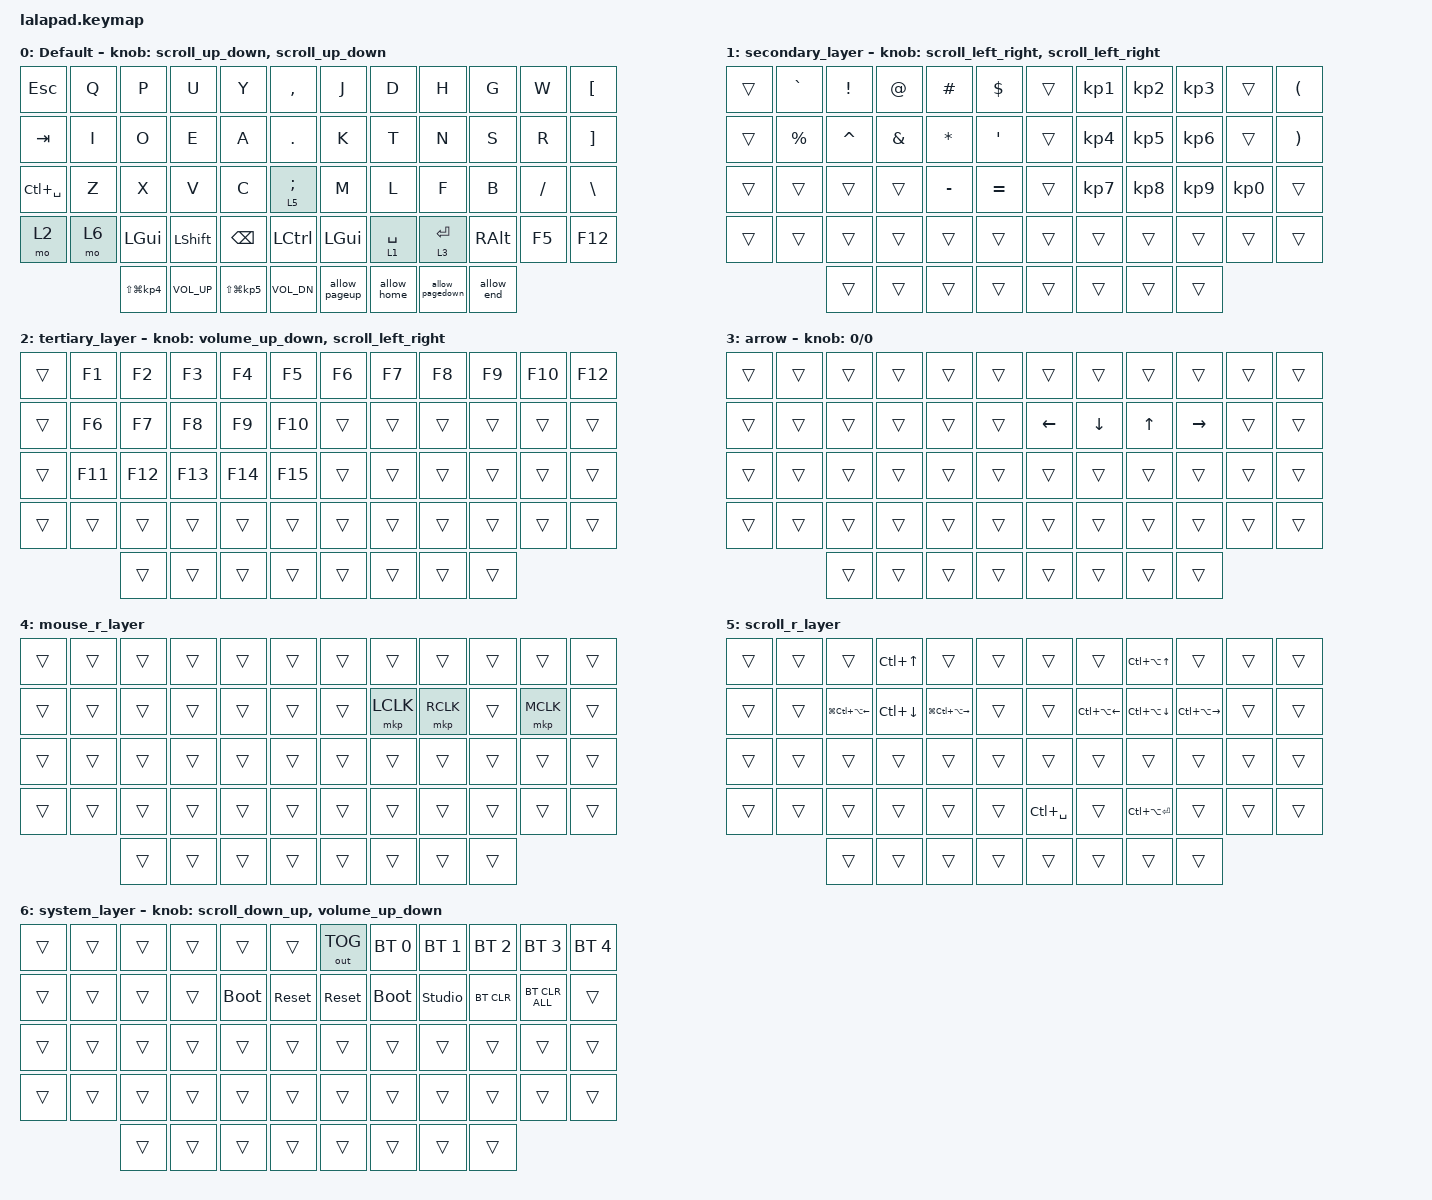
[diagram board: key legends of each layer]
#include <input/processors.dtsi>
#include <behaviors.dtsi>
#include <dt-bindings/zmk/bt.h>
#include <dt-bindings/zmk/keys.h>
#include <dt-bindings/zmk/outputs.h>
#include <dt-bindings/zmk/pointing.h>

#define DEFAULT_LAYER   0
#define SECONDARY_LAYER 1
#define TERTIARY_LAYER  2
#define SYSTEM_LAYER    3
#define MOUSE_R_LAYER   4
#define SCROLL_R_LAYER  5
#define MOUSE_L_LAYER   6
#define SCROLL_L_LAYER  7

// Mouse Scroll Value

#define ZMK_POINTING_DEFAULT_SCRL_VAL 100

// cirque trackpad input&layer control

&glidepoint_listener_R {
    input-processors =
        <&zip_xy_transform (INPUT_TRANSFORM_XY_SWAP | INPUT_TRANSFORM_X_INVERT | INPUT_TRANSFORM_Y_INVERT)>,
        <&zip_xy_scaler 3 2>,
        <&zip_temp_layer MOUSE_R_LAYER 500>;

    lowspeedmode {
        layers = <SECONDARY_LAYER>;
        input-processors =
            <&zip_xy_transform (INPUT_TRANSFORM_XY_SWAP | INPUT_TRANSFORM_X_INVERT | INPUT_TRANSFORM_Y_INVERT)>,
            <&zip_xy_scaler 3 5>,
            <&zip_temp_layer MOUSE_R_LAYER 500>;
    };

    scroller {
        layers = <SCROLL_R_LAYER>;
        input-processors =
            <&zip_xy_to_scroll_mapper>,
            <&zip_scroll_transform (INPUT_TRANSFORM_XY_SWAP | INPUT_TRANSFORM_Y_INVERT)>,
            <&zip_scroll_scaler 1 8>;
    };
};

&glidepoint_listener_L {
    input-processors =
        <&zip_xy_transform (INPUT_TRANSFORM_XY_SWAP | INPUT_TRANSFORM_X_INVERT | INPUT_TRANSFORM_Y_INVERT)>,
        <&zip_xy_scaler 3 2>,
        <&zip_temp_layer MOUSE_L_LAYER 500>;

    lowspeedmode {
        layers = <SECONDARY_LAYER>;
        input-processors =
            <&zip_xy_transform (INPUT_TRANSFORM_XY_SWAP | INPUT_TRANSFORM_X_INVERT | INPUT_TRANSFORM_Y_INVERT)>,
            <&zip_xy_scaler 3 4>,
            <&zip_temp_layer MOUSE_L_LAYER 500>;
    };

    scroller {
        layers = <SCROLL_L_LAYER>;
        input-processors =
            <&zip_xy_to_scroll_mapper>,
            <&zip_scroll_transform (INPUT_TRANSFORM_XY_SWAP | INPUT_TRANSFORM_Y_INVERT)>,
            <&zip_scroll_scaler 1 6>;
    };
};

/ {
    behaviors {
        // Encoder to Mouse Scroll

        scroll_up_down: sensor_scroll_up_down {
            compatible = "zmk,behavior-sensor-rotate";
            #sensor-binding-cells = <0>;
            bindings = <&msc SCRL_UP>, <&msc SCRL_DOWN>;

            tap-ms = <20>;
            label = "SCROLL_UP_DOWN";
        };

        scroll_down_up: sensor_scroll_down_up {
            compatible = "zmk,behavior-sensor-rotate";
            #sensor-binding-cells = <0>;
            bindings = <&msc SCRL_DOWN>, <&msc SCRL_UP>;

            tap-ms = <20>;
            label = "SCROLL_DOWN_UP";
        };

        scroll_left_right: sensor_scroll_left_right {
            compatible = "zmk,behavior-sensor-rotate";
            #sensor-binding-cells = <0>;
            bindings = <&msc SCRL_LEFT>, <&msc SCRL_RIGHT>;

            tap-ms = <20>;
            label = "SCROLL_LEFT_RIGHT";
        };

        scroll_right_left: sensor_scroll_right_left {
            compatible = "zmk,behavior-sensor-rotate";
            #sensor-binding-cells = <0>;
            bindings = <&msc SCRL_RIGHT>, <&msc SCRL_LEFT>;

            tap-ms = <20>;
            label = "SCROLL_RIGHT_LEFT";
        };

        volume_up_down: sensor_volume_up_down {
            compatible = "zmk,behavior-sensor-rotate";
            #sensor-binding-cells = <0>;
            bindings = <&kp C_VOLUME_UP>, <&kp C_VOLUME_DOWN>;

            tap-ms = <20>;
            label = "VOLUME_UP_DOWN";
        };

        dot_comma: dot_comma {
            compatible = "zmk,behavior-mod-morph";
            #binding-cells = <0>;
            bindings = <&kp KP_DOT>, <&kp COMMA>;

            mods = <(MOD_LSFT|MOD_RSFT)>;
            label = "DOT_COMMA";
        };

        pls_minus: pls_minus {
            compatible = "zmk,behavior-mod-morph";
            #binding-cells = <0>;
            bindings = <&kp PLUS>, <&kp MINUS>;

            mods = <(MOD_LSFT|MOD_RSFT)>;
            label = "PLS_MINUS";
        };

        allow_pageup: allow_pageup {
            compatible = "zmk,behavior-mod-morph";
            #binding-cells = <0>;
            bindings = <&kp UP>, <&kp PAGE_UP>;

            mods = <(MOD_LCTL|MOD_RCTL)>;
            label = "ALLOW_PAGEUP";
        };

        allow_pagedown: allow_pagedown {
            compatible = "zmk,behavior-mod-morph";
            #binding-cells = <0>;
            bindings = <&kp DOWN>, <&kp PAGE_DOWN>;

            mods = <(MOD_LCTL|MOD_RCTL)>;
            label = "ALLOW_PAGEDOWN";
        };

        allow_home: allow_home {
            compatible = "zmk,behavior-mod-morph";
            #binding-cells = <0>;
            bindings = <&kp LEFT>, <&kp HOME>;

            mods = <(MOD_LCTL|MOD_RCTL)>;
            label = "ALLOW_HOME";
        };

        allow_end: allow_end {
            compatible = "zmk,behavior-mod-morph";
            #binding-cells = <0>;
            bindings = <&kp RIGHT>, <&kp END>;

            mods = <(MOD_LCTL|MOD_RCTL)>;
            label = "ALLOW_END";
        };

        mt2: mod_tap2 {
            compatible = "zmk,behavior-hold-tap";
            #binding-cells = <2>;
            flavor = "tap-preferred";
            tapping-term-ms = <200>;
            quick-tap-ms = <200>;
            require-prior-idle-ms = <125>;
            bindings = <&kp>, <&kp>;
        };
    };

    combos {
        compatible = "zmk,combos";

        tab {
            bindings = <&kp TAB>;
            key-positions = <15 14>;
        };

        shifttab {
            bindings = <&kp LS(TAB)>;
            key-positions = <15 16>;
        };
    };

    keymap {
        compatible = "zmk,keymap";

        DEFAULT_LAYER {
            display-name = "Default";
            sensor-bindings = <&scroll_up_down>, <&scroll_up_down>;

            bindings = <
&kp ESC        &kp Q  &kp P                    &kp U           &kp Y                    &kp COMMA        &kp J          &kp D        &kp H            &kp G          &kp W      &kp LEFT_BRACKET
&kp TAB        &kp I  &kp O                    &kp E           &kp A                    &kp PERIOD       &kp K          &kp T        &kp N            &kp S          &kp R      &kp RIGHT_BRACKET
&kp LC(SPACE)  &kp Z  &kp X                    &kp V           &kp C                    &lt 5 SEMICOLON  &kp M          &kp L        &kp F            &kp B          &kp SLASH  &kp BSLH
&mo 2          &mo 6  &kp LEFT_GUI             &kp LEFT_SHIFT  &kp BACKSPACE            &kp LCTRL        &kp LEFT_GUI   &lt 1 SPACE  &lt 3 ENTER      &kp RIGHT_ALT  &kp F5     &kp F12
                      &kp LS(LG(KP_NUMBER_4))  &kp C_VOL_UP    &kp LS(LG(KP_NUMBER_5))  &kp C_VOL_DN     &allow_pageup  &allow_home  &allow_pagedown  &allow_end
            >;
        };

        num {
            display-name = "secondary_layer";
            sensor-bindings = <&scroll_left_right>, <&scroll_left_right>;

            bindings = <
&trans  &kp GRAVE    &kp EXCLAMATION  &kp AT_SIGN    &kp HASH      &kp DOLLAR  &trans  &kp KP_NUMBER_1  &kp KP_NUMBER_2  &kp KP_NUMBER_3  &trans           &kp LEFT_PARENTHESIS
&trans  &kp PERCENT  &kp CARET        &kp AMPERSAND  &kp ASTERISK  &kp SQT     &trans  &kp KP_NUMBER_4  &kp KP_NUMBER_5  &kp KP_NUMBER_6  &trans           &kp RIGHT_PARENTHESIS
&trans  &trans       &trans           &trans         &kp MINUS     &kp EQUAL   &trans  &kp KP_NUMBER_7  &kp KP_NUMBER_8  &kp KP_NUMBER_9  &kp KP_NUMBER_0  &trans
&trans  &trans       &trans           &trans         &trans        &trans      &trans  &trans           &trans           &trans           &trans           &trans
                     &trans           &trans         &trans        &trans      &trans  &trans           &trans           &trans
            >;
        };

        function {
            display-name = "tertiary_layer";
            bindings = <
&trans  &kp F1   &kp F2   &kp F3   &kp F4   &kp F5   &kp F6  &kp F7  &kp F8  &kp F9  &kp F10  &kp F12
&trans  &kp F6   &kp F7   &kp F8   &kp F9   &kp F10  &trans  &trans  &trans  &trans  &trans   &trans
&trans  &kp F11  &kp F12  &kp F13  &kp F14  &kp F15  &trans  &trans  &trans  &trans  &trans   &trans
&trans  &trans   &trans   &trans   &trans   &trans   &trans  &trans  &trans  &trans  &trans   &trans
                 &trans   &trans   &trans   &trans   &trans  &trans  &trans  &trans
            >;

            sensor-bindings = <&volume_up_down>, <&scroll_left_right>;
        };

        arrow {
            bindings = <
&trans  &trans  &trans  &trans  &trans  &trans  &trans    &trans          &trans        &trans     &trans  &trans
&trans  &trans  &trans  &trans  &trans  &trans  &kp LEFT  &kp DOWN_ARROW  &kp UP_ARROW  &kp RIGHT  &trans  &trans
&trans  &trans  &trans  &trans  &trans  &trans  &trans    &trans          &trans        &trans     &trans  &trans
&trans  &trans  &trans  &trans  &trans  &trans  &trans    &trans          &trans        &trans     &trans  &trans
                &trans  &trans  &trans  &trans  &trans    &trans          &trans        &trans
            >;

            sensor-bindings = <&inc_dec_kp 0 0>;
        };

        MOUSE_R_LAYER {
            display-name = "mouse_r_layer";
            bindings = <
&trans  &trans  &trans  &trans  &trans  &trans  &trans  &trans     &trans     &trans  &trans     &trans
&trans  &trans  &trans  &trans  &trans  &trans  &trans  &mkp LCLK  &mkp RCLK  &trans  &mkp MCLK  &trans
&trans  &trans  &trans  &trans  &trans  &trans  &trans  &trans     &trans     &trans  &trans     &trans
&trans  &trans  &trans  &trans  &trans  &trans  &trans  &trans     &trans     &trans  &trans     &trans
                &trans  &trans  &trans  &trans  &trans  &trans     &trans     &trans
            >;
        };

        rectangle {
            display-name = "scroll_r_layer";
            bindings = <
&trans  &trans  &trans                &kp LC(UP_ARROW)    &trans                 &trans  &trans         &trans            &kp LC(LA(UP_ARROW))    &trans             &trans  &trans
&trans  &trans  &kp LG(LC(LA(LEFT)))  &kp LC(DOWN_ARROW)  &kp LG(LC(LA(RIGHT)))  &trans  &trans         &kp LC(LA(LEFT))  &kp LC(LA(DOWN_ARROW))  &kp LC(LA(RIGHT))  &trans  &trans
&trans  &trans  &trans                &trans              &trans                 &trans  &trans         &trans            &trans                  &trans             &trans  &trans
&trans  &trans  &trans                &trans              &trans                 &trans  &kp LC(SPACE)  &trans            &kp LC(LA(ENTER))       &trans             &trans  &trans
                &trans                &trans              &trans                 &trans  &trans         &trans            &trans                  &trans
            >;
        };

        SYSTEM_LAYER {
            display-name = "system_layer";
            sensor-bindings = <&scroll_down_up>, <&volume_up_down>;

            bindings = <
&trans  &trans  &trans  &trans  &trans       &trans      &out OUT_TOG  &bt BT_SEL 0  &bt BT_SEL 1    &bt BT_SEL 2  &bt BT_SEL 3    &bt BT_SEL 4
&trans  &trans  &trans  &trans  &bootloader  &sys_reset  &sys_reset    &bootloader   &studio_unlock  &bt BT_CLR    &bt BT_CLR_ALL  &trans
&trans  &trans  &trans  &trans  &trans       &trans      &trans        &trans        &trans          &trans        &trans          &trans
&trans  &trans  &trans  &trans  &trans       &trans      &trans        &trans        &trans          &trans        &trans          &trans
                &trans  &trans  &trans       &trans      &trans        &trans        &trans          &trans
            >;
        };
    };
};
